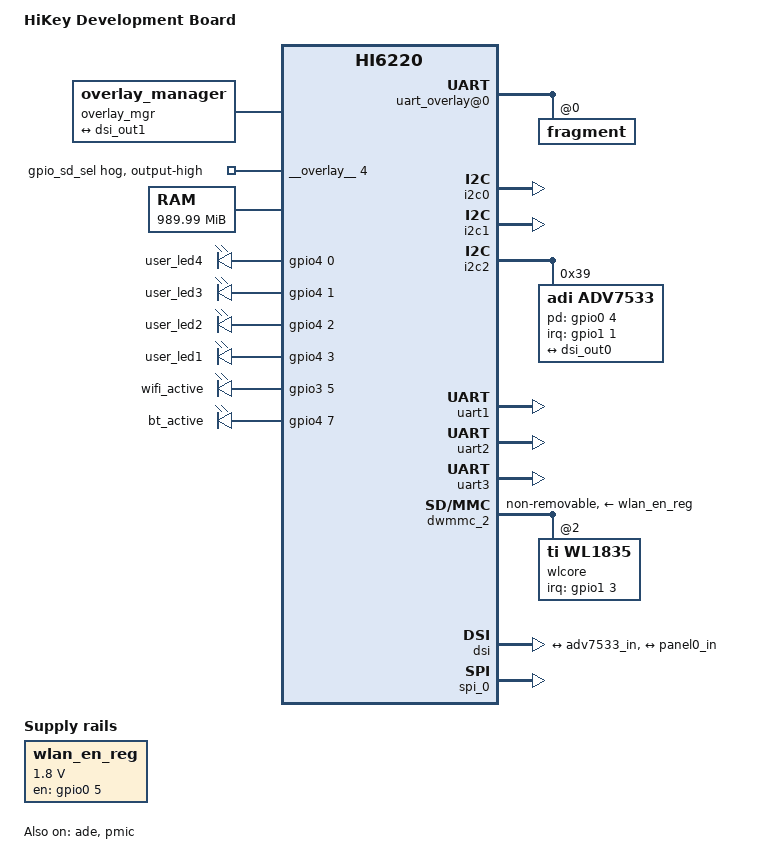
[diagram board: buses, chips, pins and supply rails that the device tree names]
/*
 * dts file for Hisilicon HiKey Development Board
 *
 * Copyright (C) 2015, Hisilicon Ltd.
 *
 */

/dts-v1/;
#include <dt-bindings/gpio/gpio.h>

#include "hi6220.dtsi"
#include "hikey-gpio.dtsi"
#include "hikey-pinctrl.dtsi"

/ {
	model = "HiKey Development Board";
	compatible = "hisilicon,hi6220-hikey", "hisilicon,hi6220";

	aliases {
		serial0 = &uart0; /* On board UART0 */
		serial1 = &uart1; /* BT UART */
		serial2 = &uart2; /* LS Expansion UART0 */
		serial3 = &uart3; /* LS Expansion UART1 */
		spi0 = &spi_0;
	};

	chosen {
		stdout-path = "serial3:115200n8";
	};

	fiq-debugger {
		compatible = "android,irq-hi6220-uart";
		reg = <0x0 0xf7113000 0x0 0x1000>;
		interrupts = <GIC_SPI 39 IRQ_TYPE_LEVEL_HIGH>;
		interrupt-names = "fiq", "signal";
	};

	uart_overlay@0 {
		fragment@0 {
			target-path="/soc/uart@f7113000";
			__overlay__ {
				status = "disabled";
			};
		};
	};

	overlay_mgr {
		compatible = "linux,overlay_manager";
		hardware_cfg_innolux_panel {
			overlay_0 {
				fragment@0 {
					target-path="/soc/dsi@f4107800";
					__overlay__ { /* For panel reg's value should >= 1 */
						#address-cells = <1>;
						#size-cells = <0>;
						panel@1 {
							compatible = "innolux,n070icn-pb1";
							reg = <1>;
							power-on-delay= <50>;
							reset-delay = <100>;
							init-delay = <100>;
							panel-width-mm = <58>;
							panel-height-mm = <103>;
							pwr-en-gpio = <&gpio2 1 0>;
							bl-en-gpio = <&gpio2 3 0>;
							pwm-gpio = <&gpio12 7 0>;

							port {
								panel0_in: endpoint {
									remote-endpoint = <&dsi_out1>;
								};
							};
						};
					};
				};
			};
		};
		hardware_cfg_spidev0 {
			overlay_0 {
				fragment@0 {
					target-path="/soc/spi@f7106000/spidev@0";
					__overlay__ {
						status = "ok";
					};
				};
			};
		};
		hardware_cfg_cs_sd_qb {
			overlay_0 {
				fragment@0 { /* Select SD from Quick Bus */
					target-path="/soc/gpio@f7020000";
					__overlay__ {
						sd_sel {
							gpio-hog;
							gpios = <4 0>;
							output-high;
							line-name = "gpio_sd_sel";
						};
					};
				};
			};
		};
	};

	/*
	 * Reserve below regions from memory node:
	 *
	 *  0x05e0,0000 - 0x05ef,ffff: MCU firmware runtime using
	 *  0x05f0,1000 - 0x05f0,1fff: Reboot reason
	 *  0x06df,f000 - 0x06df,ffff: Mailbox message data
	 *  0x0740,f000 - 0x0740,ffff: MCU firmware section
	 *  0x21f0,0000 - 0x21ff,ffff: pstore/ramoops buffer
	 *  0x3e00,0000 - 0x3fff,ffff: OP-TEE
	 */
	memory@0 {
		device_type = "memory";
		reg = <0x00000000 0x00000000 0x00000000 0x05e00000>,
		      <0x00000000 0x05f00000 0x00000000 0x00001000>,
		      <0x00000000 0x05f02000 0x00000000 0x00efd000>,
		      <0x00000000 0x06e00000 0x00000000 0x0060f000>,
		      <0x00000000 0x07410000 0x00000000 0x1aaf0000>,
		      <0x00000000 0x22000000 0x00000000 0x1c000000>;
	};

	pstore: pstore@0x21f00000 {
		no-map;
		reg = <0x0 0x21f00000 0x0 0x00100000>;  /* pstore/ramoops buffer */
	};

	ramoops {
		compatible = "ramoops";
		memory-region = <&pstore>;
		record-size	= <0x0 0x00020000>;
		console-size	= <0x0 0x00020000>;
		ftrace-size	= <0x0 0x00020000>;
	};

	reboot_reason: reboot-reason@05f01000 {
		compatible		= "linux,reboot-reason-sram";
		reg			= <0x0 0x05F01000 0x0 0x4>;
		reason,none		= <0x77665501>;
		reason,bootloader	= <0x77665500>;
		reason,recovery		= <0x77665502>;
		reason,oem		= <0x6f656d00>;
	};

	soc {
		i2c0: i2c@f7100000 {
			status = "ok";
		};

		i2c1: i2c@f7101000 {
			status = "ok";
		};

		i2c2: i2c@f7102000 {
			status = "ok";

			#address-cells = <0x1>;
			#size-cells = <0x0>;
			adv7533: adv7533@39 {
				compatible = "adi,adv7533";
				reg = <0x39>;
				interrupt-parent = <&gpio1>;
				interrupts = <1 2>;
				pd-gpio = <&gpio0 4 0>;
				adi,dsi-lanes = <4>;
				adi,disable-timing-generator;

				port {
					adv7533_in: endpoint {
						remote-endpoint = <&dsi_out0>;
					};
				};
			};
		};
		uart1: uart@f7111000 {
			status = "ok";
		};

		uart2: uart@f7112000 {
			status = "ok";
		};

		uart3: uart@f7113000 {
			status = "ok";
		};

		dwmmc_2: dwmmc2@f723f000 {
			ti,non-removable;
			non-removable;
			/* WL_EN */
			vmmc-supply = <&wlan_en_reg>;

			#address-cells = <0x1>;
			#size-cells = <0x0>;
			wlcore: wlcore@2 {
				compatible = "ti,wl1835";
				reg = <2>;	/* sdio func num */
				/* WL_IRQ, WL_HOST_WAKE_GPIO1_3 */
				interrupt-parent = <&gpio1>;
				interrupts = <3 IRQ_TYPE_EDGE_RISING>;
			};
		};

		wlan_en_reg: fixedregulator@1 {
			compatible = "regulator-fixed";
			regulator-name = "wlan-en-regulator";
			regulator-min-microvolt = <1800000>;
			regulator-max-microvolt = <1800000>;
			/* WLAN_EN GPIO */
			gpio = <&gpio0 5 0>;
			/* WLAN card specific delay */
			startup-delay-us = <70000>;
			enable-active-high;
		};

	};

	leds {
		compatible = "gpio-leds";
		user_led1 {
			label = "user_led4";
			gpios = <&gpio4 0 0>; /* <&gpio_user_led_1>; */
			linux,default-trigger = "heartbeat";
		};

		user_led2 {
			label = "user_led3";
			gpios = <&gpio4 1 0>; /* <&gpio_user_led_2>; */
			linux,default-trigger = "mmc0";
		};

		user_led3 {
			label = "user_led2";
			gpios = <&gpio4 2 0>; /* <&gpio_user_led_3>; */
			linux,default-trigger = "mmc1";
		};

		user_led4 {
			label = "user_led1";
			gpios = <&gpio4 3 0>; /* <&gpio_user_led_4>; */
			linux,default-trigger = "cpu0";
		};

		wlan_active_led {
			label = "wifi_active";
			gpios = <&gpio3 5 0>; /* <&gpio_wlan_active_led>; */
			linux,default-trigger = "phy0tx";
			default-state = "off";
		};

		bt_active_led {
			label = "bt_active";
			gpios = <&gpio4 7 0>; /* <&gpio_bt_active_led>; */
			linux,default-trigger = "hci0rx";
			default-state = "off";
		};
	};

	kim {
		compatible = "kim";
		pinctrl-names = "default";
		pinctrl-0 = <>; /* FIXME: add BT PCM pinctrl here */
		/*
		 * FIXME: The following is complete CRAP since
		 * the vendor driver doesn't follow the gpio
		 * binding. Passing in a magic Linux gpio number
		 * here until we fix the vendor driver.
		 */
		/* BT_EN: BT_REG_ON_GPIO1_7 */
		nshutdown_gpio = <503>;
		dev_name = "/dev/ttyAMA1";
		flow_cntrl = <1>;
		baud_rate = <3000000>;
	};

	btwilink {
		compatible = "btwilink";
	};

	pmic: pmic@f8000000 {
		compatible = "hisilicon,hi655x-pmic";
		reg = <0x0 0xf8000000 0x0 0x1000>;
		interrupt-controller;
		#interrupt-cells = <2>;
		pmic-gpios = <&gpio1 2 GPIO_ACTIVE_HIGH>;
		status = "okay";

		ponkey:ponkey@b1{
			compatible = "hisilicon,hi6552-powerkey";
			interrupt-parent = <&pmic>;
			interrupts = <6 0>, <5 0>, <4 0>;
			interrupt-names = "down", "up", "hold 4s";
		};

		regulators {
			ldo2: LDO2@a21 {

				regulator-name = "LDO2_2V8";
				regulator-min-microvolt = <2500000>;
				regulator-max-microvolt = <3200000>;
				regulator-enable-ramp-delay = <120>;
			};

			ldo7: LDO7@a26 {
				regulator-name = "LDO7_SDIO";
				regulator-min-microvolt = <1800000>;
				regulator-max-microvolt = <3300000>;
				regulator-enable-ramp-delay = <120>;
			};

			ldo10: LDO10@a29 {
				regulator-name = "LDO10_2V85";
				regulator-min-microvolt = <1800000>;
				regulator-max-microvolt = <3000000>;
				regulator-enable-ramp-delay = <360>;
			};

			ldo13: LDO13@a32 {
				regulator-name = "LDO13_1V8";
				regulator-min-microvolt = <1600000>;
				regulator-max-microvolt = <1950000>;
				regulator-enable-ramp-delay = <120>;
			};

			ldo14: LDO14@a33 {
				regulator-name = "LDO14_2V8";
				regulator-min-microvolt = <2500000>;
				regulator-max-microvolt = <3200000>;
				regulator-enable-ramp-delay = <120>;
			};

			ldo15: LDO15@a34 {
				regulator-name = "LDO15_1V8";
				regulator-min-microvolt = <1600000>;
				regulator-max-microvolt = <1950000>;
				regulator-boot-on;
				regulator-always-on;
				regulator-enable-ramp-delay = <120>;
			};

			ldo17: LDO17@a36 {
				regulator-name = "LDO17_2V5";
				regulator-min-microvolt = <2500000>;
				regulator-max-microvolt = <3200000>;
				regulator-enable-ramp-delay = <120>;
			};

			ldo19: LDO19@a38 {
				regulator-name = "LDO19_3V0";
				regulator-min-microvolt = <1800000>;
				regulator-max-microvolt = <3000000>;
				regulator-enable-ramp-delay = <360>;
			};

			ldo21: LDO21@a40 {
				regulator-name = "LDO21_1V8";
				regulator-min-microvolt = <1650000>;
				regulator-max-microvolt = <2000000>;
				regulator-always-on;
				regulator-enable-ramp-delay = <120>;
			};

			ldo22: LDO22@a41 {
				regulator-name = "LDO22_1V2";
				regulator-min-microvolt = <900000>;
				regulator-max-microvolt = <1200000>;
				regulator-boot-on;
				regulator-always-on;
				regulator-enable-ramp-delay = <120>;
			};
		};
	};

	firmware {
		optee {
			compatible = "linaro,optee-tz";
			method = "smc";
		};
	};
};

&ade {
	status = "ok";
};

&dsi {
	#address-cells = <1>;
	#size-cells = <0>;
	mux-gpio = <&gpio0 1 0>;
	status = "ok";

	ports {
		/* 1 for output port */
		port@1 {
			#address-cells = <1>;
			#size-cells = <0>;
			reg = <1>;

			dsi_out0: endpoint@0 {
				reg = <0>;
				remote-endpoint = <&adv7533_in>;
			};

			dsi_out1: endpoint@1 {
				reg = <1>;
				remote-endpoint = <&panel0_in>;
			};
		};
	};
};

&spi_0 {
	#address-cells = <1>;
	#size-cells = <0>;
	status = "ok";

	spidev@0 {
		compatible = "linux,spidev";
		spi-max-frequency = <500000>;
		reg = <0>;
		status = "disabled";
	};
};
